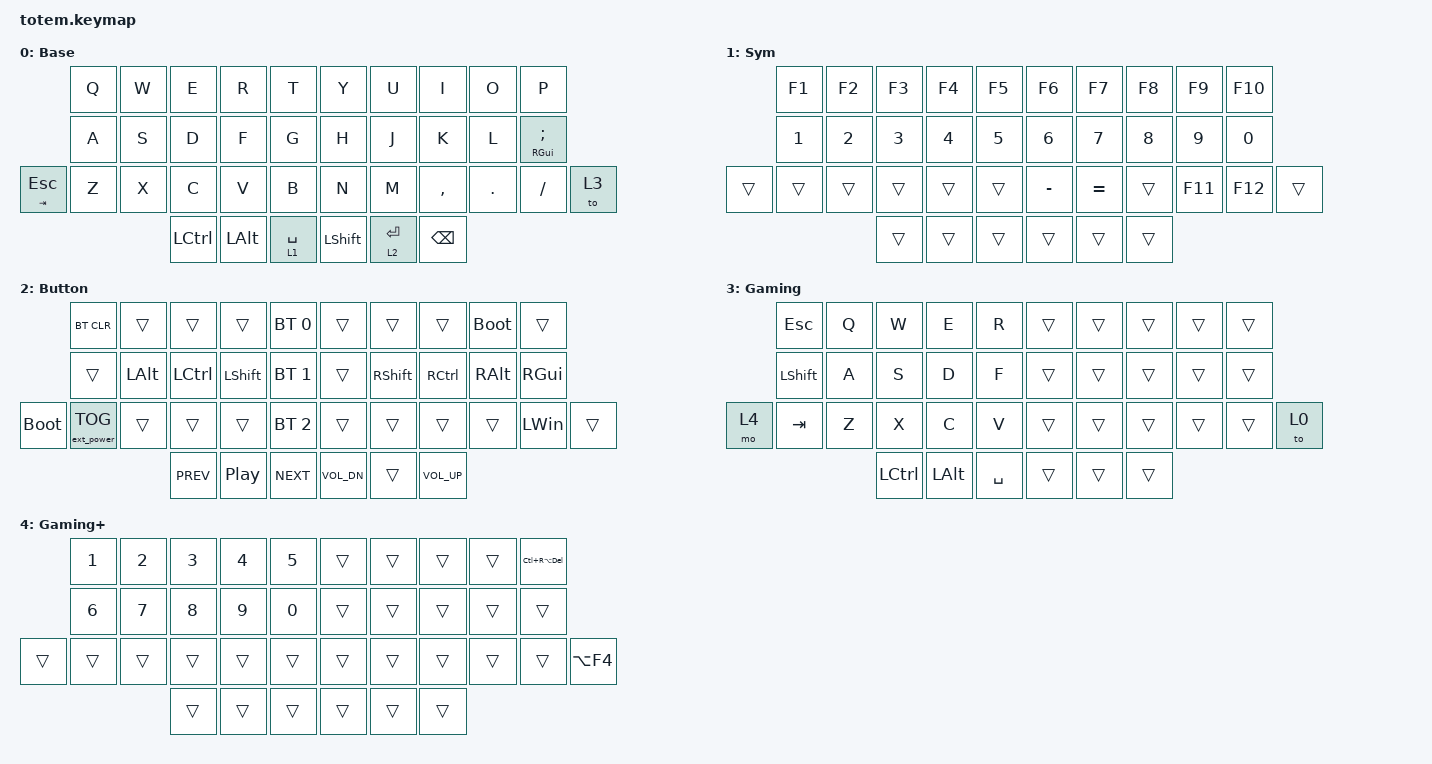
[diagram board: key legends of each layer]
//
//                                                        ▀▀▀▀▀     ▀▀▀▀▀          ▀▀█▀▀
//                                                        ▄▀▀▀▄  ▄  ▄▀▀▀▄  ▄  ▄▀▀▀▄  █  ▄▀▀▀▄
//                                                        █   █  █  █   █  █  █   █  █  █   █
//                                                         ▀▀▀   █   ▀▀▀   █   ▀▀▀   ▀   ▀▀▀
//                                                               █      ▄▄▄█▄▄▄    █   █  
//                                                               ▀      █  █  █     █▄█
//                                                             ▀▀▀▀▀    █  █  █      ▀
//                                                                      ▀  ▀  ▀
//
// ▄▄▄▄▄▄▄▄▄▄▄▄▄▄▄▄▄▄▄▄▄▄▄▄▄▄▄▄▄▄▄▄▄▄▄▄▄▄▄▄▄▄▄▄▄▄▄▄▄▄▄▄▄▄▄▄▄▄▄▄▄▄▄▄▄▄▄▄▄▄▄▄▄▄▄▄▄▄▄▄▄▄▄▄▄▄▄▄▄▄▄▄▄▄▄▄▄▄▄▄▄▄▄▄▄▄▄▄▄▄▄▄▄▄▄▄▄▄▄▄▄▄▄▄▄▄▄▄▄▄▄▄▄▄▄▄▄▄▄▄▄▄▄▄▄▄▄▄▄

#include <behaviors.dtsi>
#include <dt-bindings/zmk/bt.h>
#include <dt-bindings/zmk/ext_power.h>
#include <dt-bindings/zmk/keys.h>

#define Base        0
#define Sym         1
#define Button      2
#define Game        3
#define Gameplus    4

&mt {
    quick-tap-ms = <100>;
    global-quick-tap;
    flavor = "tap-preferred";
    tapping-term-ms = <170>;
};

&lt {
    tapping-term-ms = <240>;
    flavor = "balanced";
    quick-tap-ms = <150>;
};

/ {
    behaviors {
        hm: homerow_mods {
            compatible = "zmk,behavior-hold-tap";
            label = "HOMEROW_MODS";
            #binding-cells = <2>;
            flavor = "tap-preferred";
            tapping-term-ms = <200>;
            quick-tap-ms = <125>;
            global-quick-tap;
            bindings = <&kp>, <&kp>;
        };
    };

    combos { compatible = "zmk,combos"; };

    keymap {
        compatible = "zmk,keymap";

        Base {
            label = "Base";
            bindings = <
             &kp Q  &kp W  &kp E             &kp R         &kp T          &kp Y           &kp U        &kp I          &kp O    &kp P
             &kp A  &kp S  &kp D             &kp F         &kp G          &kp H           &kp J        &kp K          &kp L    &hm RGUI SEMICOLON
&mt TAB ESC  &kp Z  &kp X  &kp C             &kp V         &kp B          &kp N           &kp M        &kp COMMA      &kp DOT  &kp SLASH           &to 3
                           &kp LEFT_CONTROL  &kp LEFT_ALT  &lt 1 SPACE    &kp LEFT_SHIFT  &lt 2 ENTER  &kp BACKSPACE
            >;
        };

        Sym {
            label = "Sym";
            bindings = <
        &kp F1        &kp F2        &kp F3        &kp F4        &kp F5          &kp F6        &kp F7        &kp F8        &kp F9        &kp F10
        &kp NUMBER_1  &kp NUMBER_2  &kp NUMBER_3  &kp NUMBER_4  &kp NUMBER_5    &kp NUMBER_6  &kp NUMBER_7  &kp NUMBER_8  &kp NUMBER_9  &kp NUMBER_0
&trans  &trans        &trans        &trans        &trans        &trans          &kp MINUS     &kp EQUAL     &trans        &kp F11       &kp F12       &trans
                                    &trans        &trans        &trans          &trans        &trans        &trans
            >;
        };

        Button {
            label = "Button";
            bindings = <
             &bt BT_CLR         &trans    &trans      &trans      &bt BT_SEL 0    &trans        &trans      &trans        &bootloader  &trans
             &trans             &kp LALT  &kp LCTRL   &kp LSHIFT  &bt BT_SEL 1    &trans        &kp RSHIFT  &kp RCTRL     &kp RALT     &kp RGUI
&bootloader  &ext_power EP_TOG  &trans    &trans      &trans      &bt BT_SEL 2    &trans        &trans      &trans        &trans       &kp LEFT_WIN  &trans
                                          &kp C_PREV  &kp C_PP    &kp C_NEXT      &kp C_VOL_DN  &trans      &kp C_VOL_UP
            >;
        };

        Gaming {
            label = "Gaming";
            bindings = <
       &kp ESCAPE      &kp Q  &kp W      &kp E         &kp R        &trans  &trans  &trans  &trans  &trans
       &kp LEFT_SHIFT  &kp A  &kp S      &kp D         &kp F        &trans  &trans  &trans  &trans  &trans
&mo 4  &kp TAB         &kp Z  &kp X      &kp C         &kp V        &trans  &trans  &trans  &trans  &trans  &to 0
                              &kp LCTRL  &kp LEFT_ALT  &kp SPACE    &trans  &trans  &trans
            >;
        };

        Gaming+ {
            label = "Gaming+";
            bindings = <
        &kp NUMBER_1  &kp NUMBER_2  &kp NUMBER_3  &kp NUMBER_4  &kp NUMBER_5    &trans  &trans  &trans  &trans  &kp LC(RA(DEL))
        &kp NUMBER_6  &kp NUMBER_7  &kp NUMBER_8  &kp NUMBER_9  &kp NUMBER_0    &trans  &trans  &trans  &trans  &trans
&trans  &trans        &trans        &trans        &trans        &trans          &trans  &trans  &trans  &trans  &trans           &kp LA(F4)
                                    &trans        &trans        &trans          &trans  &trans  &trans
            >;
        };
    };
};
